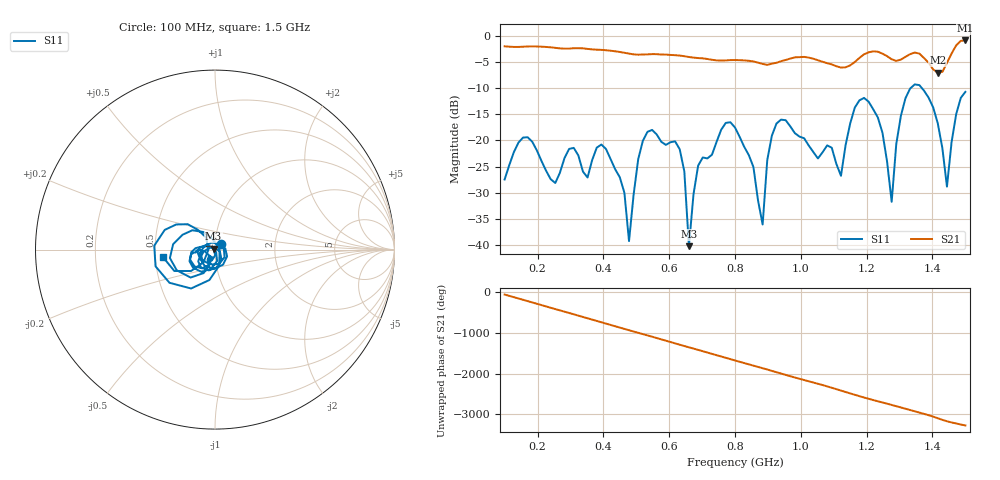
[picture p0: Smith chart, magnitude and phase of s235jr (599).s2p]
! NanoVNA-App
! Date: 2025-09-25 15:08:50
! Start: 100MHz Stop: 1,5GHz Points: 101
! S-Parameter data: F S11 S21 S12 S22
# Hz S RI R 50
!  Frequency  S11_Real  S11_Imag  S21_Real  S21_Imag  S12_Real  S12_Imag  S22_Real  S22_Imag
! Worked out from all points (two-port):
!   101 points, 100 MHz to 1.5 GHz, reference 50 ohm
!   highest |S21| = -0.85 dB at 1.5 GHz (marker M1); lowest = -7.0 dB at 1.416 GHz (marker M2)
!   |S21| within 3 dB of the highest: start of sweep to 644 MHz; 1.185 GHz to 1.262 GHz (76.71 MHz wide, 6.27 % of centre) (the widest 2 of 4)
!   lowest |S11| = -40.2 dB at 660 MHz (marker M3), VSWR 1.02, Z = 49.2 + j0.535 ohm
!   |S11| at or under -10 dB: start of sweep to 1.333 GHz; 1.368 GHz to end of sweep
!   S12 and S22 are empty: the file has one direction only
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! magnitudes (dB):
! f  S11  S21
! 100 MHz  -27.5  -2.0
! 156 MHz  -19.4  -2.0
! 338 MHz  -26.0  -2.4
! 408 MHz  -21.6  -2.7
! 478 MHz  -39.3  -3.4
! 520 MHz  -20.1  -3.5
! 576 MHz  -20.3  -3.5
! 632 MHz  -21.7  -3.7
! 660 MHz  -40.2  -4.0
! 688 MHz  -24.8  -4.2
! 800 MHz  -17.5  -4.6
! 884 MHz  -36.1  -5.3
! 926 MHz  -16.8  -5.1
! 1.038 GHz  -22.2  -4.3
! 1.122 GHz  -26.8  -6.0
! 1.192 GHz  -11.8  -3.5
! 1.248 GHz  -18.5  -3.4
! 1.276 GHz  -31.7  -4.5
! 1.332 GHz  -10.1  -3.5
! 1.416 GHz  -16.7  -7.0
! 1.444 GHz  -28.8  -5.1
! 1.5 GHz  -10.7  -0.8
